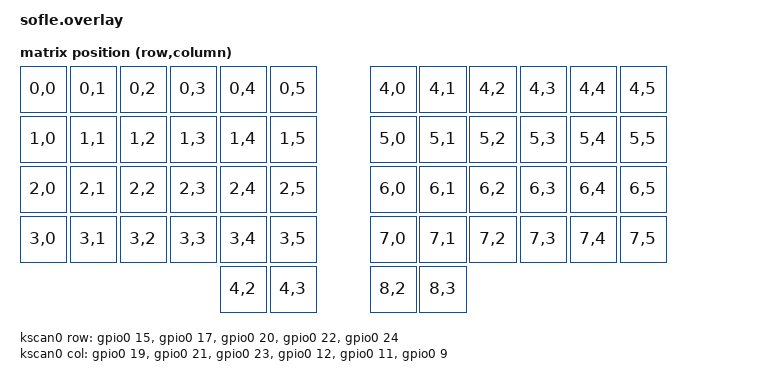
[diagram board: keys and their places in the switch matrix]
#include <dt-bindings/zmk/trackball.h>

/ {
    chosen {
        zmk,kscan = &kscan0;
        zmk,matrix_transform = &default_transform;
        zmk,pointing-device = &pim447;
    };

    kscan0: kscan {
        compatible = "zmk,kscan-gpio-matrix";
        label = "KSCAN";
        
        diode-direction = "col2row";
        row-gpios
            = <&gpio0 15 (GPIO_ACTIVE_HIGH | GPIO_PULL_DOWN)>
            , <&gpio0 17 (GPIO_ACTIVE_HIGH | GPIO_PULL_DOWN)>
            , <&gpio0 20 (GPIO_ACTIVE_HIGH | GPIO_PULL_DOWN)>
            , <&gpio0 22 (GPIO_ACTIVE_HIGH | GPIO_PULL_DOWN)>
            , <&gpio0 24 (GPIO_ACTIVE_HIGH | GPIO_PULL_DOWN)>;
        col-gpios
            = <&gpio0 19 GPIO_ACTIVE_HIGH>
            , <&gpio0 21 GPIO_ACTIVE_HIGH>
            , <&gpio0 23 GPIO_ACTIVE_HIGH>
            , <&gpio0 12 GPIO_ACTIVE_HIGH>
            , <&gpio0 11 GPIO_ACTIVE_HIGH>
            , <&gpio0 9 GPIO_ACTIVE_HIGH>;
    };

    default_transform: keymap_transform_0 {
        compatible = "zmk,matrix-transform";
        columns = <6>;
        rows = <5>;
        map = <
            RC(0,0) RC(0,1) RC(0,2) RC(0,3) RC(0,4) RC(0,5)  RC(4,0) RC(4,1) RC(4,2) RC(4,3) RC(4,4) RC(4,5)
            RC(1,0) RC(1,1) RC(1,2) RC(1,3) RC(1,4) RC(1,5)  RC(5,0) RC(5,1) RC(5,2) RC(5,3) RC(5,4) RC(5,5)
            RC(2,0) RC(2,1) RC(2,2) RC(2,3) RC(2,4) RC(2,5)  RC(6,0) RC(6,1) RC(6,2) RC(6,3) RC(6,4) RC(6,5)
            RC(3,0) RC(3,1) RC(3,2) RC(3,3) RC(3,4) RC(3,5)  RC(7,0) RC(7,1) RC(7,2) RC(7,3) RC(7,4) RC(7,5)
                            RC(4,2) RC(4,3)          RC(8,2) RC(8,3)
        >;
    };
};

/* Trackball PIM447 en bus I2C0 (pines SDA/SCL ya definidos por el board nice_nano_v2) */
&i2c0 {
    status = "okay";

    pim447: trackball@0a {
        compatible = "pimoroni,trackball-pim447";
        reg = <0x0a>;   /* Dirección I2C del PIM447 */
        label = "PIM447_TRACKBALL";
        drdy-gpios = <&gpio0 2 GPIO_ACTIVE_HIGH>;  /* si tu driver pin de interrupción es el 2 */
        mode = <1>;     /* Modo de operación del trackball */
        status = "okay";
    };
};
